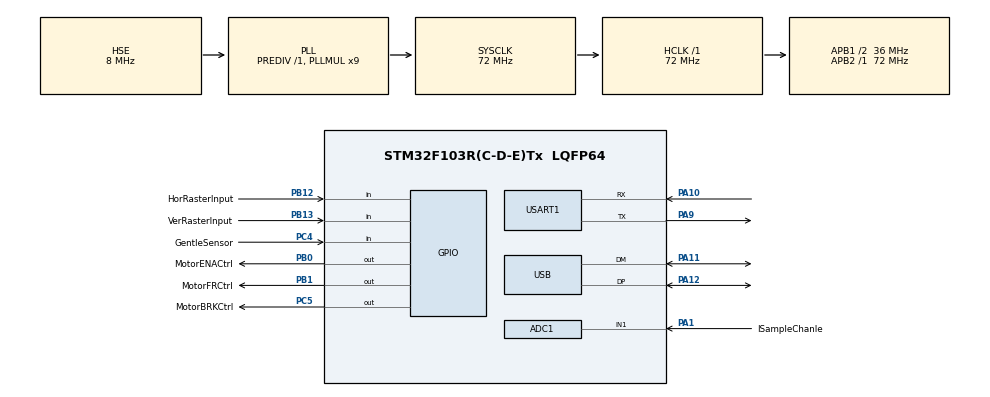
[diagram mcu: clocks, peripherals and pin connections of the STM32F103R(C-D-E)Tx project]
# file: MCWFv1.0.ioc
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ADC1.Channel-0\#ChannelRegularConversion=ADC_CHANNEL_1
ADC1.Channel-1\#ChannelRegularConversion=ADC_CHANNEL_TEMPSENSOR
ADC1.ContinuousConvMode=ENABLE
ADC1.DataAlign=ADC_DATAALIGN_RIGHT
ADC1.DiscontinuousConvMode=DISABLE
ADC1.EnableAnalogWatchDog=false
ADC1.EnableRegularConversion=ENABLE
ADC1.ExternalTrigConv=ADC_SOFTWARE_START
ADC1.InjNumberOfConversion=0
ADC1.NbrOfConversion=2
ADC1.NbrOfConversionFlag=1
ADC1.Rank-0\#ChannelRegularConversion=1
ADC1.Rank-1\#ChannelRegularConversion=2
ADC1.SamplingTime-0\#ChannelRegularConversion=ADC_SAMPLETIME_28CYCLES_5
ADC1.SamplingTime-1\#ChannelRegularConversion=ADC_SAMPLETIME_28CYCLES_5
ADC1.ScanConvMode=ADC_SCAN_ENABLE
ADC1.master=1
Dma.ADC1.0.Direction=DMA_PERIPH_TO_MEMORY
Dma.ADC1.0.Instance=DMA1_Channel1
Dma.ADC1.0.MemDataAlignment=DMA_MDATAALIGN_WORD
Dma.ADC1.0.MemInc=DMA_MINC_ENABLE
Dma.ADC1.0.Mode=DMA_CIRCULAR
Dma.ADC1.0.PeriphDataAlignment=DMA_PDATAALIGN_WORD
Dma.ADC1.0.PeriphInc=DMA_PINC_DISABLE
Dma.ADC1.0.Priority=DMA_PRIORITY_LOW
Dma.Request0=ADC1
Dma.Request1=USART1_RX
Dma.Request2=USART1_TX
Dma.USART1_RX.1.Direction=DMA_PERIPH_TO_MEMORY
Dma.USART1_RX.1.Instance=DMA1_Channel5
Dma.USART1_RX.1.MemDataAlignment=DMA_MDATAALIGN_BYTE
Dma.USART1_RX.1.MemInc=DMA_MINC_ENABLE
Dma.USART1_RX.1.Mode=DMA_CIRCULAR
Dma.USART1_RX.1.PeriphDataAlignment=DMA_PDATAALIGN_BYTE
Dma.USART1_RX.1.PeriphInc=DMA_PINC_DISABLE
Dma.USART1_RX.1.Priority=DMA_PRIORITY_LOW
Dma.USART1_TX.2.Direction=DMA_MEMORY_TO_PERIPH
Dma.USART1_TX.2.Instance=DMA1_Channel4
Dma.USART1_TX.2.MemDataAlignment=DMA_MDATAALIGN_BYTE
Dma.USART1_TX.2.MemInc=DMA_MINC_ENABLE
Dma.USART1_TX.2.Mode=DMA_NORMAL
Dma.USART1_TX.2.PeriphDataAlignment=DMA_PDATAALIGN_BYTE
Dma.USART1_TX.2.PeriphInc=DMA_PINC_DISABLE
Dma.USART1_TX.2.Priority=DMA_PRIORITY_LOW
Mcu.Family=STM32F1
Mcu.Name=STM32F103R(C-D-E)Tx
Mcu.Package=LQFP64
NVIC.ADC1_2_IRQn=true\:0\:0\:false\:false\:true\:true
NVIC.DMA1_Channel1_IRQn=true\:0\:0\:false\:true\:true\:7\:false
NVIC.DMA1_Channel4_IRQn=true\:0\:0\:false\:true\:true\:3\:false
NVIC.DMA1_Channel5_IRQn=true\:0\:0\:false\:true\:true\:4\:false
NVIC.PriorityGroup=NVIC_PRIORITYGROUP_4
NVIC.TIM4_IRQn=true\:0\:0\:false\:true\:true\:5\:true
NVIC.TIM5_IRQn=true\:0\:0\:false\:true\:true\:6\:true
NVIC.USART1_IRQn=true\:0\:0\:false\:true\:true\:2\:true
NVIC.USB_LP_CAN1_RX0_IRQn=true\:0\:0\:false\:true\:true\:1\:false
PA1.GPIO_Label=ISampleChanle
PA1.Signal=ADCx_IN1
PA10.Mode=Asynchronous
PA10.Signal=USART1_RX
PA11.Mode=Device
PA11.Signal=USB_DM
PA12.Mode=Device
PA12.Signal=USB_DP
PA13.Mode=Serial_Wire
PA13.Signal=SYS_JTMS-SWDIO
PA14.Mode=Serial_Wire
PA14.Signal=SYS_JTCK-SWCLK
PA9.Mode=Asynchronous
PA9.Signal=USART1_TX
PB0.GPIO_Label=MotorENACtrl
PB0.GPIO_ModeDefaultOutputPP=GPIO_MODE_OUTPUT_PP
PB0.Signal=GPIO_Output
PB1.GPIO_Label=MotorFRCtrl
PB1.Signal=GPIO_Output
PB12.GPIO_Label=HorRasterInput
PB12.GPIO_PuPd=GPIO_PULLDOWN
PB12.Signal=GPIO_Input
PB13.GPIO_Label=VerRasterInput
PB13.GPIO_PuPd=GPIO_PULLDOWN
PB13.Signal=GPIO_Input
PC4.GPIO_Label=GentleSensor
PC4.GPIO_PuPd=GPIO_PULLUP
PC4.Signal=GPIO_Input
PC5.GPIO_Label=MotorBRKCtrl
PC5.Signal=GPIO_Output
PD0-OSC_IN.Mode=HSE-External-Oscillator
PD0-OSC_IN.Signal=RCC_OSC_IN
PD1-OSC_OUT.Mode=HSE-External-Oscillator
PD1-OSC_OUT.Signal=RCC_OSC_OUT
ProjectManager.HeapSize=0x200
ProjectManager.StackSize=0x400
ProjectManager.TargetToolchain=EWARM
RCC.ADCPresc=RCC_ADCPCLK2_DIV6
RCC.AHBFreq_Value=72000000
RCC.APB1CLKDivider=RCC_HCLK_DIV2
RCC.APB1Freq_Value=36000000
RCC.APB1TimFreq_Value=72000000
RCC.APB2Freq_Value=72000000
RCC.APB2TimFreq_Value=72000000
RCC.HCLKFreq_Value=72000000
RCC.PLLMUL=RCC_PLL_MUL9
RCC.PLLSourceVirtual=RCC_PLLSOURCE_HSE
RCC.SYSCLKFreq_VALUE=72000000
RCC.SYSCLKSource=RCC_SYSCLKSOURCE_PLLCLK
RCC.USBFreq_Value=48000000
RCC.USBPrescaler=RCC_USBCLKSOURCE_PLL_DIV1_5
SH.ADCx_IN1.0=ADC1_IN1,IN1
TIM4.AutoReloadPreload=TIM_AUTORELOAD_PRELOAD_ENABLE
TIM4.Period=100-1
TIM4.Prescaler=72-1
TIM5.AutoReloadPreload=TIM_AUTORELOAD_PRELOAD_ENABLE
TIM5.Period=100-1
TIM5.Prescaler=72-1
USART1.VirtualMode=VM_ASYNC
USB_DEVICE.CLASS_NAME_FS=CDC
USB_DEVICE.VirtualMode=Cdc
USB_DEVICE.VirtualModeFS=Cdc_FS
VP_ADC1_TempSens_Input.Mode=IN-TempSens
VP_TIM4_VS_ClockSourceINT.Mode=Internal
VP_TIM5_VS_ClockSourceINT.Mode=Internal
VP_USB_DEVICE_VS_USB_DEVICE_CDC_FS.Mode=CDC_FS
board=MCWFv1.0

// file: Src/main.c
/**
  ******************************************************************************
  * File Name          : main.c
  * Description        : Main program body
  ******************************************************************************
  * This notice applies to any and all portions of this file
  * that are not between comment pairs USER CODE BEGIN and
  * USER CODE END. Other portions of this file, whether
  * inserted by the user or by software development tools
  * are owned by their respective copyright owners.
  *
  * Copyright (c) 2017 STMicroelectronics International N.V.
  * All rights reserved.
  *
  * Redistribution and use in source and binary forms, with or without
  * modification, are permitted, provided that the following conditions are met:
  *
  * 1. Redistribution of source code must retain the above copyright notice,
  *    this list of conditions and the following disclaimer.
  * 2. Redistributions in binary form must reproduce the above copyright notice,
  *    this list of conditions and the following disclaimer in the documentation
  *    and/or other materials provided with the distribution.
  * 3. Neither the name of STMicroelectronics nor the names of other
  *    contributors to this software may be used to endorse or promote products
  *    derived from this software without specific written permission.
  * 4. This software, including modifications and/or derivative works of this
  *    software, must execute solely and exclusively on microcontroller or
  *    microprocessor devices manufactured by or for STMicroelectronics.
  * 5. Redistribution and use of this software other than as permitted under
  *    this license is void and will automatically terminate your rights under
  *    this license.
  *
  * THIS SOFTWARE IS PROVIDED BY STMICROELECTRONICS AND CONTRIBUTORS "AS IS"
  * AND ANY EXPRESS, IMPLIED OR STATUTORY WARRANTIES, INCLUDING, BUT NOT
  * LIMITED TO, THE IMPLIED WARRANTIES OF MERCHANTABILITY, FITNESS FOR A
  * PARTICULAR PURPOSE AND NON-INFRINGEMENT OF THIRD PARTY INTELLECTUAL PROPERTY
  * RIGHTS ARE DISCLAIMED TO THE FULLEST EXTENT PERMITTED BY LAW. IN NO EVENT
  * SHALL STMICROELECTRONICS OR CONTRIBUTORS BE LIABLE FOR ANY DIRECT, INDIRECT,
  * INCIDENTAL, SPECIAL, EXEMPLARY, OR CONSEQUENTIAL DAMAGES (INCLUDING, BUT NOT
  * LIMITED TO, PROCUREMENT OF SUBSTITUTE GOODS OR SERVICES; LOSS OF USE, DATA,
  * OR PROFITS; OR BUSINESS INTERRUPTION) HOWEVER CAUSED AND ON ANY THEORY OF
  * LIABILITY, WHETHER IN CONTRACT, STRICT LIABILITY, OR TORT (INCLUDING
  * NEGLIGENCE OR OTHERWISE) ARISING IN ANY WAY OUT OF THE USE OF THIS SOFTWARE,
  * EVEN IF ADVISED OF THE POSSIBILITY OF SUCH DAMAGE.
  *
  ******************************************************************************
  */

#include "main.h"
#include "stm32f1xx_hal.h"
#include "adc.h"
#include "dma.h"
#include "tim.h"
#include "usart.h"
#include "usb_device.h"
#include "gpio.h"

/* USER CODE BEGIN Includes */
#include "BSP_Motor.h"
#include "BSP_Protocol.h"
//#include "BSP_Motor.h"

/* USER CODE END Includes */

/* USER CODE BEGIN PV */
/* Private variables ---------------------------------------------------------*/
MOTORMACHINE gMotorMachine;
PROTOCOLCMD      gProtocolCmd;
extern USARTRECIVETYPE UsartType;

uint8_t gVerLastReadVal;
uint8_t gVerCurrentReadVal;
uint8_t gHorLastReadVal;
uint8_t gHorCurrentReadVal;
uint8_t gGentleSensorVal;
uint8_t gGentleSensorLastVal;
uint8_t gGentleSensorFlag;
uint8_t gTIM4CntUpFlag;
uint8_t gTIM5CntUpFlag;
uint8_t gTIM5SendCntUpFlag;

uint16_t gTIM4Cnt;
uint16_t gTIM5Cnt;
uint16_t gTIM5SendCnt;
uint16_t gGentleSensorCnt;

/* USER CODE END PV */

void SystemClock_Config(void);
static void MX_NVIC_Init(void);

/* USER CODE BEGIN PFP */
/* Private function prototypes -----------------------------------------------*/

/* USER CODE END PFP */

int main(void)
{

  /* MCU Configuration----------------------------------------------------------*/

  /* Reset of all peripherals, Initializes the Flash interface and the Systick. */
  HAL_Init();

  /* Configure the system clock */
  SystemClock_Config();

  /* Initialize all configured peripherals */
  MX_GPIO_Init();
  MX_DMA_Init();
  MX_TIM4_Init();
  MX_USB_DEVICE_Init();
  MX_ADC1_Init();
  MX_USART1_UART_Init();
  MX_TIM5_Init();

  /* Initialize interrupts */
  MX_NVIC_Init();

  /* USER CODE BEGIN 2 */
  //HAL_TIM_Base_Start(&htim4);
  HAL_TIM_Base_Start_IT(&htim4);
  HAL_TIM_Base_Start_IT(&htim5);
  BSP_Motor_Init();
  BSP_ProtocolInit();
  HAL_UART_Receive_DMA(&huart1,UsartType.RX_pData,BSP_RX_LEN);
  __HAL_UART_ENABLE_IT(&huart1,UART_IT_IDLE);   //使能串口空闲中断
  //BSP_Running_Door();
  /* USER CODE END 2 */

  /* Infinite loop */
  while (1)
  {

  /* USER CODE BEGIN 3 */
    if(1 == gMotorMachine.StartFlag)
    {
      BSP_Running_Door();
      gMotorMachine.StartFlag = 0;
    }

    BSP_HandingCmdWithTestVersion();

    if(gGentleSensorFlag)
    {

      gProtocolCmd.RequestCmdCode = 0xC1;
      gProtocolCmd.RequestParam   = 0x01;
      gProtocolCmd.Requestdata0   = 0x00;
      gProtocolCmd.Requestdata1   = 0x00;
      gProtocolCmd.Requestdata2   = 0x00;
      BSP_SendRequestCmd(&gProtocolCmd);
      gGentleSensorFlag = 0;
    }

    if(gTIM5CntUpFlag)
    {
      gTIM5CntUpFlag = 0;
      BSP_HandingUartDataWithTestVersion();
      //调用应答函数来处
    }

    if(gTIM5SendCntUpFlag)
    {
      BSP_TrySend5TimesCmd();
      gTIM5SendCntUpFlag = 0;
    }
  }
  /* USER CODE END 3 */

}

/** System Clock Configuration
*/
void SystemClock_Config(void)
{

  RCC_OscInitTypeDef RCC_OscInitStruct;
  RCC_ClkInitTypeDef RCC_ClkInitStruct;
  RCC_PeriphCLKInitTypeDef PeriphClkInit;

    /**Initializes the CPU, AHB and APB busses clocks
    */
  RCC_OscInitStruct.OscillatorType = RCC_OSCILLATORTYPE_HSE;
  RCC_OscInitStruct.HSEState = RCC_HSE_ON;
  RCC_OscInitStruct.HSEPredivValue = RCC_HSE_PREDIV_DIV1;
  RCC_OscInitStruct.HSIState = RCC_HSI_ON;
  RCC_OscInitStruct.PLL.PLLState = RCC_PLL_ON;
  RCC_OscInitStruct.PLL.PLLSource = RCC_PLLSOURCE_HSE;
  RCC_OscInitStruct.PLL.PLLMUL = RCC_PLL_MUL9;
  if (HAL_RCC_OscConfig(&RCC_OscInitStruct) != HAL_OK)
  {
    _Error_Handler(__FILE__, __LINE__);
  }

    /**Initializes the CPU, AHB and APB busses clocks
    */
  RCC_ClkInitStruct.ClockType = RCC_CLOCKTYPE_HCLK|RCC_CLOCKTYPE_SYSCLK
                              |RCC_CLOCKTYPE_PCLK1|RCC_CLOCKTYPE_PCLK2;
  RCC_ClkInitStruct.SYSCLKSource = RCC_SYSCLKSOURCE_PLLCLK;
  RCC_ClkInitStruct.AHBCLKDivider = RCC_SYSCLK_DIV1;
  RCC_ClkInitStruct.APB1CLKDivider = RCC_HCLK_DIV2;
  RCC_ClkInitStruct.APB2CLKDivider = RCC_HCLK_DIV1;

  if (HAL_RCC_ClockConfig(&RCC_ClkInitStruct, FLASH_LATENCY_2) != HAL_OK)
  {
    _Error_Handler(__FILE__, __LINE__);
  }

  PeriphClkInit.PeriphClockSelection = RCC_PERIPHCLK_ADC|RCC_PERIPHCLK_USB;
  PeriphClkInit.AdcClockSelection = RCC_ADCPCLK2_DIV6;
  PeriphClkInit.UsbClockSelection = RCC_USBCLKSOURCE_PLL_DIV1_5;
  if (HAL_RCCEx_PeriphCLKConfig(&PeriphClkInit) != HAL_OK)
  {
    _Error_Handler(__FILE__, __LINE__);
  }

    /**Configure the Systick interrupt time
    */
  HAL_SYSTICK_Config(HAL_RCC_GetHCLKFreq()/1000);

    /**Configure the Systick
    */
  HAL_SYSTICK_CLKSourceConfig(SYSTICK_CLKSOURCE_HCLK);

  /* SysTick_IRQn interrupt configuration */
  HAL_NVIC_SetPriority(SysTick_IRQn, 0, 0);
}

/** NVIC Configuration
*/
static void MX_NVIC_Init(void)
{
  /* USB_LP_CAN1_RX0_IRQn interrupt configuration */
  HAL_NVIC_SetPriority(USB_LP_CAN1_RX0_IRQn, 0, 0);
  HAL_NVIC_EnableIRQ(USB_LP_CAN1_RX0_IRQn);
  /* USART1_IRQn interrupt configuration */
  HAL_NVIC_SetPriority(USART1_IRQn, 0, 0);
  HAL_NVIC_EnableIRQ(USART1_IRQn);
  /* DMA1_Channel4_IRQn interrupt configuration */
  HAL_NVIC_SetPriority(DMA1_Channel4_IRQn, 0, 0);
  HAL_NVIC_EnableIRQ(DMA1_Channel4_IRQn);
  /* DMA1_Channel5_IRQn interrupt configuration */
  HAL_NVIC_SetPriority(DMA1_Channel5_IRQn, 0, 0);
  HAL_NVIC_EnableIRQ(DMA1_Channel5_IRQn);
  /* TIM4_IRQn interrupt configuration */
  HAL_NVIC_SetPriority(TIM4_IRQn, 0, 0);
  HAL_NVIC_EnableIRQ(TIM4_IRQn);
  /* TIM5_IRQn interrupt configuration */
  HAL_NVIC_SetPriority(TIM5_IRQn, 0, 0);
  HAL_NVIC_EnableIRQ(TIM5_IRQn);
  /* DMA1_Channel1_IRQn interrupt configuration */
  HAL_NVIC_SetPriority(DMA1_Channel1_IRQn, 0, 0);
  HAL_NVIC_EnableIRQ(DMA1_Channel1_IRQn);
}

/* USER CODE BEGIN 4 */
/**
  * @brief  Period elapsed callback in non blocking mode
  * @param  htim : TIM handle
  * @retval None
  */
void HAL_TIM_PeriodElapsedCallback(TIM_HandleTypeDef *htim)
{
  /* Prevent unused argument(s) compilation warning */
  UNUSED(htim);
  /* NOTE : This function Should not be modified, when the callback is needed,
            the __HAL_TIM_PeriodElapsedCallback could be implemented in the user file
   */

  /* 0.1ms */
  if(htim4.Instance == htim->Instance)
  {
    gVerCurrentReadVal = HAL_GPIO_ReadPin(VerRasterInput_GPIO_Port,VerRasterInput_Pin);
    gHorCurrentReadVal = HAL_GPIO_ReadPin(HorRasterInput_GPIO_Port,HorRasterInput_Pin);

    if(1 == gVerCurrentReadVal && 1 == gVerLastReadVal)
    {
      gMotorMachine.VerFilterCnt ++;
      if(gMotorMachine.VerFilterCnt > 20)       //高电平信号持续时间大于2MS,
      {
        gMotorMachine.VerticalRasterState = 1;  //到位停机
        gMotorMachine.VerFilterCnt = 0;
        if(UPDIR == gMotorMachine.RunDir)
        {
          gMotorMachine.RunDir = DOWNDIR;
          gMotorMachine.RuningState = 0;
          BSP_Motor_Stop();
        }
      }
    }
    else
    {
      gMotorMachine.VerticalRasterState = 0;
      gMotorMachine.VerFilterCnt = 0;
    }

    if(1 == gHorCurrentReadVal && 1 == gHorLastReadVal)
    {
      gMotorMachine.HorFilterCnt++;
      if(gMotorMachine.HorFilterCnt > 20)
      {
        gMotorMachine.HorizontalRasterState = 1;
        gMotorMachine.HorFilterCnt = 0;
        if(DOWNDIR == gMotorMachine.RunDir)
        {

          gMotorMachine.RunDir = UPDIR;
          gMotorMachine.RuningState = 0;
          BSP_Motor_Stop();
        }
      }
    }
    else
    {
      gMotorMachine.HorizontalRasterState = 0;
      gMotorMachine.HorFilterCnt = 0;
    }

    gVerLastReadVal = gVerCurrentReadVal;
    gHorLastReadVal = gHorCurrentReadVal;

    gTIM4Cnt++;

    if(gTIM4Cnt > 60000)
    {
      gTIM4Cnt = 0;
      gTIM4CntUpFlag = 1;
      gMotorMachine.StartFlag = 1;
    }
  }

  if(htim5.Instance == htim->Instance)
  {

    gGentleSensorVal   = HAL_GPIO_ReadPin(GentleSensor_GPIO_Port,GentleSensor_Pin);

    if(0 == gGentleSensorVal && 0 == gGentleSensorLastVal)
    {
      if(0 == gMotorMachine.GentleSensorFlag)
      {
        gGentleSensorCnt ++;
        if(gGentleSensorCnt > 50 && 0 == gGentleSensorFlag)
        {
          gGentleSensorFlag = 1;
          gGentleSensorCnt = 0;
          gMotorMachine.GentleSensorFlag = 1;
        }
      }
    }
    else
    {
      gMotorMachine.GentleSensorFlag = 0;
      gGentleSensorFlag = 0;
      gGentleSensorCnt = 0;
    }
    gGentleSensorLastVal = gGentleSensorVal;

    gTIM5Cnt++;
    if(gTIM5Cnt > 50)
    {
      gTIM5Cnt = 0;
      gTIM5CntUpFlag = 1;
    }

    gTIM5SendCnt ++;
    if(gTIM5SendCnt > 5000)
    {
      gTIM5SendCntUpFlag = 1;
      gTIM5SendCnt = 0;
    }

  }
}

/* USER CODE END 4 */

void _Error_Handler(char * file, int line)
{
  while(1)
  {
  }
}

/************************ (C) COPYRIGHT STMicroelectronics *****END OF FILE****/
